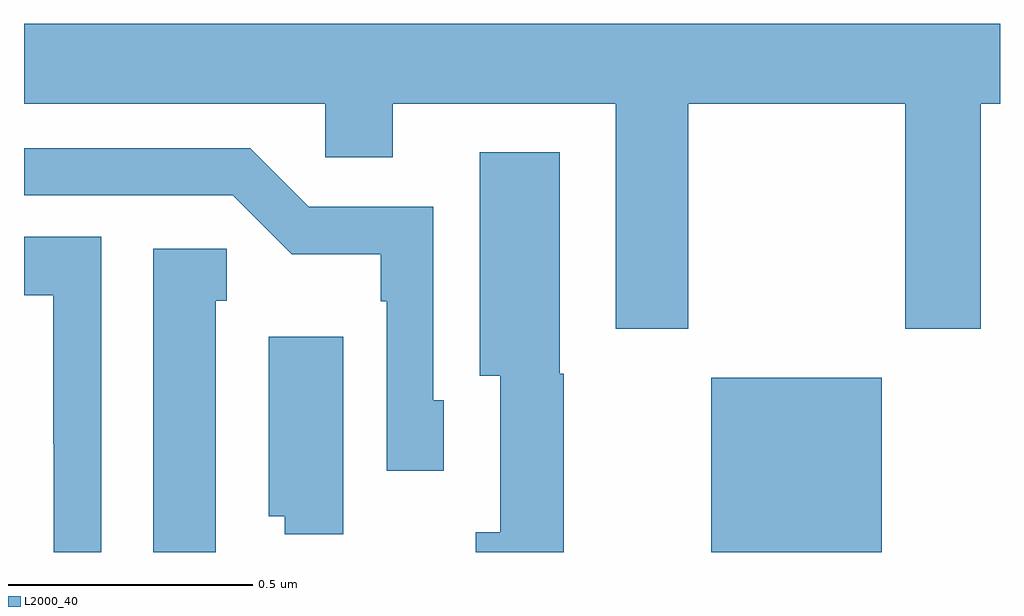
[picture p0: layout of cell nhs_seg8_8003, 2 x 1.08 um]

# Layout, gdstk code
import gdstk
lib = gdstk.Library(unit=1e-6, precision=1e-09)
def R(c, l, rs):  # rectangles x0, y0, x1, y1
    for r in rs: c.add(gdstk.rectangle(r[:2], r[2:], *l))
def P(c, l, *ps):  # polygons
    for p in ps: c.add(gdstk.Polygon(p, *l))
L2000_40 = (2000, 40)

nhs_seg8_8003 = lib.new_cell('nhs_seg8_8003')
R(nhs_seg8_8003, L2000_40, [(218.408,1128.9,218.758,1129.258)])
P(nhs_seg8_8003, L2000_40, [(218.361,1129.82),(218.806,1129.82),(218.806,1129.359),(218.961,1129.359),(218.961,1129.82),(219,1129.82),(219,1129.984),(217,1129.984),(217,1129.82),(217.617,1129.82),(217.617,1129.71),(217.756,1129.71),(217.756,1129.82),(218.213,1129.82),(218.213,1129.359),(218.361,1129.359)],
  [(217.86,1129.212),(217.839,1129.212),(217.839,1129.608),(217.584,1129.608),(217.464,1129.728),(217,1129.728),(217,1129.632),(217.428,1129.632),(217.549,1129.511),(217.731,1129.511),(217.731,1129.415),(217.743,1129.415),(217.743,1129.068),(217.86,1129.068)],
  [(218.106,1129.266),(218.098,1129.266),(218.098,1129.72),(217.934,1129.72),(217.934,1129.262),(217.976,1129.262),(217.976,1128.942),(217.926,1128.942),(217.926,1128.9),(218.106,1128.9)],
  [(217.158,1129.547),(217,1129.547),(217,1129.427),(217.06,1129.427),(217.06,1129.123),(217.061,1129.123),(217.061,1128.9),(217.158,1128.9)],
  [(217.393,1129.416),(217.415,1129.416),(217.415,1129.522),(217.265,1129.522),(217.265,1128.9),(217.393,1128.9)],
  [(217.654,1129.342),(217.502,1129.342),(217.502,1128.974),(217.534,1128.974),(217.534,1128.937),(217.654,1128.937)])

lib.write_gds('nhs_seg8_8003.gds')
